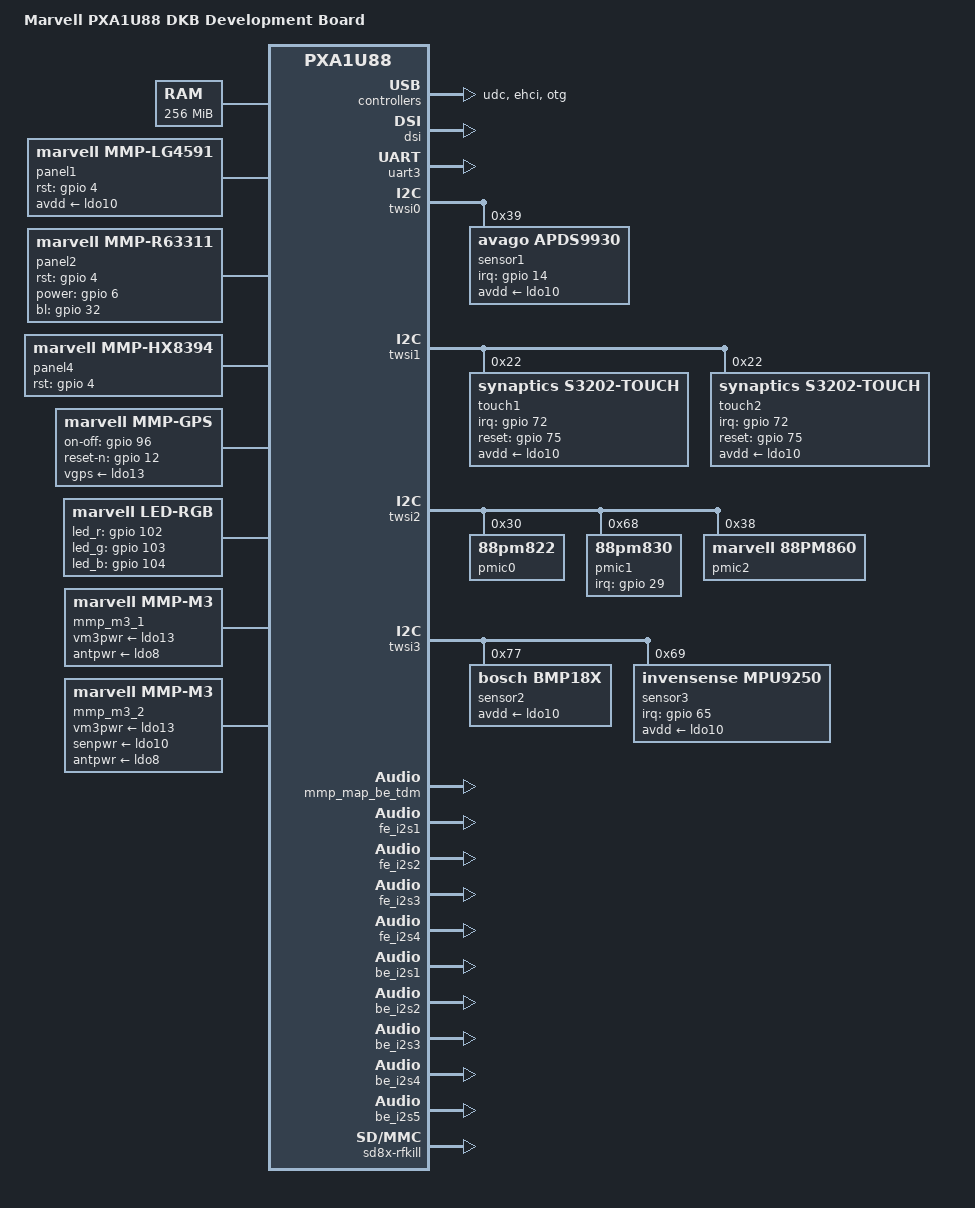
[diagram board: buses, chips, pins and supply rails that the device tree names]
/*
 *  Copyright (C) 2012 Marvell Technology Group Ltd.
 *  Author: Haojian Zhuang <haojian.zhuang@marvell.com>
 *
 *  This program is free software; you can redistribute it and/or modify
 *  it under the terms of the GNU General Public License version 2 as
 *  publishhed by the Free Software Foundation.
 */

/dts-v1/;
/memreserve/ 0x08100000 0x00040000;     /* ramoops buffer (256KB) */
/memreserve/ 0x17000000 0x01800000;	/* Frame buffer (24MB) */
/memreserve/ 0x09000000 0x01000000;	/* GPU Reserved mem (16MB) */
/memreserve/ 0x0a000000 0x00080000;	/* CM3 shared buffer(512KB) */
/memreserve/ 0x0b000000 0x01000000;	/* CM3 ACQ buffer(16MB) */
#include "pxa1U88.dtsi"
#include "pxa988-pinfunc.h"
#include <dt-bindings/mmc/pxa_sdhci.h>

/ {
	model = "Marvell PXA1U88 DKB Development Board";
	compatible = "marvell,pxa1U88-dkb", "marvell,pxa1U88";

	chosen {
		bootargs = "console=ttyS0,115200 root=/dev/nfs nfsroot=192.168.1.100:/nfsroot/ ip=192.168.1.101:192.168.1.100::255.255.255.0::eth0:on";
	};

	memory {
		reg = <0x00000000 0x10000000>;
	};

	soc {
		bus_number = <2>;

		pd_display: pd_display@0xd4282800 {
			compatible = "marvell,power-domain-display-pxa1u88";
			reg = <0xd4282800 0x1000>;
			clocks = <&soc_clocks PXA1U88_CLK_DISP_HCLK>,
				<&soc_clocks PXA1U88_CLK_DSI_ESC>,
				<&soc_clocks PXA1U88_CLK_DISP1_EN>;
			clock-names = "LCDCIHCLK", "esc_clk", "disp1_clk_gate";
		};

		smmu {  /* iommu in vpu */
			clocks = <&soc_clocks PXA1U88_CLK_VPU>,
				<&soc_clocks PXA1U88_CLK_VPUBUS>;
			clock-names = "VPUCLK", "VPUACLK";
			marvell,power-domain = <&pd_vpu>;
			status = "okay";
		};

		axi@d4200000 {	/* AXI */
			usbphy: usbphy@d4207000 {
				status = "okay";
			};

			udc: udc@d4208100 {
				status = "okay";
			};

			ehci: ehci@d4208100 {
				status = "okay";
			};

			otg: otg@d4208100 {
				status = "okay";
			};

			pd_gc: pd_gc@d4282800 {
				compatible = "marvell,power-domain-common-gc";
				reg = <0xd4282800 0x1000>;
				clocks = <&soc_clocks PXA1U88_CLK_GC3D>;
			};

			pd_gc2d: pd_gc2d@d4282800 {
				compatible = "marvell,power-domain-common-gc2d";
				reg = <0xd4282800 0x1000>;
				clocks = <&soc_clocks PXA1U88_CLK_GC2D>;
			};

			gpu: gpu@C0400000 {
				marvell,power-domain = <&pd_gc>;
				marvell,gpu-mem-base = <0x09000000>;
				marvell,gpu-mem-size = <0x1000000>;
				clocks = <&soc_clocks PXA1U88_CLK_GC3D>,
					<&soc_clocks PXA1U88_CLK_GCSH>,
					<&soc_clocks PXA1U88_CLK_GCBUS>;
				clock-names = "GC3DFCLK", "GCSHCLK", "GC3DACLK";
				status = "okay";
			};

			gpu2d: gpu2d@d420c000 {
				marvell,power-domain = <&pd_gc2d>;
				clocks = <&soc_clocks PXA1U88_CLK_GC2D>,
					<&soc_clocks PXA1U88_CLK_GCBUS>;
				clock-names = "GC2DFCLK", "GC2DACLK";
				status = "okay";
			};

			pd_vpu: pd_vpu@d4282800 {
				compatible = "marvell,power-domain-common-vpu";
				reg = <0xd4282800 0x1000>;
				clocks = <&soc_clocks PXA1U88_CLK_VPU>;
			};

			pd_smmu: pd_smmu@c0010000 {
				compatible = "marvell,power-domain-smmu-pxa1u88";
				reg = <0xc0010000 0x10000>;
				marvell,power-domain-parent = <&pd_vpu>;
				clocks = <&soc_clocks PXA1U88_CLK_VPU>,
					<&soc_clocks PXA1U88_CLK_VPUBUS>;
				clock-names = "VPUCLK", "VPUACLK";
			};

			coda7542: coda7542@d420d000 {
				marvell,sram-internal = <1>;
				marvell,nv21_support = <0>;
				marvell,power-domain = <&pd_smmu>;
				clocks = <&soc_clocks PXA1U88_CLK_VPU>,
					<&soc_clocks PXA1U88_CLK_VPUBUS>;
				clock-names = "VPUCLK", "VPUACLK";
				status = "okay";
			};

			devfreq-vpu {
				marvell,power-domain = <&pd_vpu>;
			};

			intc: wakeupgen@d4282000 {
				status = "okay";
			};

			/* eMMC */
			sdh2: sdh@d4281000 {
				pinctrl-names = "default", "fast";
				pinctrl-0 = <&sdh2_pmx_func1 &sdh2_pmx_func2>;
				pinctrl-1 = <&sdh2_pmx_func1_fast &sdh2_pmx_func2_fast>;
				bus-width = <8>;
				non-removable;
				marvell,sdh-pm-runtime-en;
				marvell,sdh-quirks = <(
						SDHCI_QUIRK_BROKEN_ADMA |
						SDHCI_QUIRK_BROKEN_CARD_DETECTION
						)>;
				marvell,sdh-quirks2 = <(
						SDHCI_QUIRK2_TUNING_ADMA_BROKEN |
						/* SDHCI_QUIRK2_BROKEN_HS200 | */
						SDHCI_QUIRK2_TIMEOUT_SHORT
						)>;
				marvell,sdh-host-caps = <(MMC_CAP_1_8V_DDR)>;
				marvell,sdh-host-caps2 = <(MMC_CAP2_DISABLE_BLK_ASYNC)>;
				marvell,sdh-flags = <(
						PXA_FLAG_NEW_RX_CFG_REG |
						PXA_FLAG_SD_8_BIT_CAPABLE_SLOT |
						PXA_FLAG_ENABLE_CLOCK_GATING |
						PXA_FLAG_TX_SEL_BUS_CLK
						)>;
		/* prop "sdh-dtr-data": <timing preset_rate src_rate tx_delay rx_delay sdclk_sel0 sdclk_sel1 fakeclk_en> */
				marvell,sdh-dtr-data = <PXA_MMC_TIMING_LEGACY PXA_SDH_DTR_26M PXA_SDH_DTR_104M 0 0 0 0 0>,
						<PXA_MMC_TIMING_MMC_HS PXA_SDH_DTR_52M PXA_SDH_DTR_104M 0 0 0 0 0>,
						<PXA_MMC_TIMING_UHS_DDR50 PXA_SDH_DTR_52M PXA_SDH_DTR_104M 0 0 0 0 0>,
						<PXA_MMC_TIMING_MMC_HS200 PXA_SDH_DTR_208M PXA_SDH_DTR_208M 0 0 3 0 0>,
						<PXA_MMC_TIMING_MAX PXA_SDH_DTR_PS_NONE PXA_SDH_DTR_104M 0 0 0 0 0>;
				marvell,sdh-tuning-win-limit = <150>;
				marvell,sdh-dvfs-levels = <0 3>; /* tuning from dvfs level 0 to 3  */
				marvell,sdh-tuning-mode = <PXA_SDH_TUNING_DVFS>;
				status = "okay";
			 };

			/* SD card */
			sdh0: sdh@d4280000 {
				pinctrl-names = "default", "fast";
				pinctrl-0 = <&sdh0_pmx_func1 &sdh0_pmx_func2 &sdh0_pmx_func3>;
				pinctrl-1 = <&sdh0_pmx_func1 &sdh0_pmx_func2_fast &sdh0_pmx_func3_fast>;
				vqmmc-supply	= <&ldo5>;
				vmmc-supply	= <&ldo4>;
				cd-gpios = <&gpio 91 0>;
				cd-inverted;
				bus-width = <4>;
				wp-inverted;
				marvell,sdh-pm-runtime-en;
				marvell,sdh-host-caps-disable = <(MMC_CAP_UHS_SDR104)>;
				marvell,sdh-quirks = <(
						SDHCI_QUIRK_INVERTED_WRITE_PROTECT |
						SDHCI_QUIRK_BROKEN_CARD_DETECTION
						)>;
				marvell,sdh-quirks2 = <(
						SDHCI_QUIRK2_TUNING_ADMA_BROKEN |
						SDHCI_QUIRK2_TIMEOUT_SHORT
						)>;
				marvell,sdh-flags = <(
						PXA_FLAG_NEW_RX_CFG_REG |
						PXA_FLAG_TX_SEL_BUS_CLK |
						PXA_FLAG_ENABLE_CLOCK_GATING
						)>;
		/* prop "sdh-dtr-data": <timing preset_rate src_rate tx_delay rx_delay sdclk_sel0 sdclk_sel1 fakeclk_en> */
				marvell,sdh-dtr-data = <PXA_MMC_TIMING_LEGACY PXA_SDH_DTR_26M PXA_SDH_DTR_104M 0 0 0 0 0>,
						<PXA_MMC_TIMING_SD_HS PXA_SDH_DTR_52M PXA_SDH_DTR_104M 0 0 0 0 0>,
						<PXA_MMC_TIMING_UHS_DDR50 PXA_SDH_DTR_52M PXA_SDH_DTR_104M 0 0 0 0 0>,
						<PXA_MMC_TIMING_UHS_SDR104 PXA_SDH_DTR_208M PXA_SDH_DTR_208M 0 0 3 0 0>,
						<PXA_MMC_TIMING_MAX PXA_SDH_DTR_PS_NONE PXA_SDH_DTR_104M 0 0 0 0 0>;
				marvell,sdh-tuning-win-limit = <150>;
				marvell,sdh-dvfs-levels = <0 3>; /* tuning from dvfs level 0 to 3  */
				marvell,sdh-tuning-mode = <PXA_SDH_TUNING_DVFS>;
				status = "okay";
			};

			/* SDIO */
			sdh1: sdh@d4280800 {
				pinctrl-names = "default", "fast", "sleep";
				pinctrl-0 = <&sdh1_pmx_func1 &sdh1_pmx_func2 &sdh1_pmx_func3 &sdh1_pmx_func4>;
				pinctrl-1 = <&sdh1_pmx_func1_fast &sdh1_pmx_func2_fast &sdh1_pmx_func3 &sdh1_pmx_func4>;
				pinctrl-2 = <&sdh1_pmx_edge_wakeup>;
				bus-width = <4>;
				marvell,sdh-pm-runtime-en;
				marvell,sdh-host-caps-disable = <(MMC_CAP_UHS_SDR104 | MMC_CAP_UHS_SDR50)>;
				marvell,sdh-quirks = <(SDHCI_QUIRK_BROKEN_CARD_DETECTION)>;
				marvell,sdh-quirks2 = <(SDHCI_QUIRK2_HOLDSUSPEND_AFTER_REQUEST |
						SDHCI_QUIRK2_FAKE_SDIO_IRQ_IN_UHS |
						SDHCI_QUIRK2_TUNING_ADMA_BROKEN |
						SDHCI_QUIRK2_TIMEOUT_SHORT
						)>;
				marvell,sdh-pm-caps = <(MMC_PM_KEEP_POWER)>;
				marvell,sdh-host-caps2 = <(MMC_CAP2_NO_VOLTAGE_SWITCH)>;
				marvell,sdh-flags = <(
						PXA_FLAG_NEW_RX_CFG_REG |
						PXA_FLAG_WAKEUP_HOST |
						PXA_FLAG_TX_SEL_BUS_CLK |
						PXA_FLAG_EN_PM_RUNTIME |
						PXA_FLAG_DISABLE_PROBE_CDSCAN
						)>;
		/* prop "sdh-dtr-data": <timing preset_rate src_rate tx_delay rx_delay sdclk_sel0 sdclk_sel1 fakeclk_en> */
				marvell,sdh-dtr-data = <PXA_MMC_TIMING_LEGACY PXA_SDH_DTR_26M PXA_SDH_DTR_104M 0 0 0 0 0>,
						<PXA_MMC_TIMING_SD_HS PXA_SDH_DTR_45M PXA_SDH_DTR_89M 0 0 0 0 0>,
						<PXA_MMC_TIMING_UHS_DDR50 PXA_SDH_DTR_52M PXA_SDH_DTR_104M 0 0 0 0 0>,
						<PXA_MMC_TIMING_UHS_SDR50 PXA_SDH_DTR_104M PXA_SDH_DTR_104M 0 0 0 0 0>,
						<PXA_MMC_TIMING_UHS_SDR104 PXA_SDH_DTR_208M PXA_SDH_DTR_208M 600 0 3 0 0>,
						<PXA_MMC_TIMING_MAX PXA_SDH_DTR_PS_NONE PXA_SDH_DTR_89M 0 0 0 0 0>;
				marvell,sdh-tuning-win-limit = <150>;
				marvell,sdh-dvfs-levels = <0 3>; /* tuning from dvfs level 0 to 3  */
				marvell,sdh-tuning-mode = <PXA_SDH_TUNING_DVFS>;
				status = "okay";
			};

			dsi: dsi@d420b800 {
				marvell,phy-name = "mmp_dsi1";
				marvell,plat-path-name = "mmp_pnpath";
				marvell,dsi-lanes = <4>;
				marvell,burst-mode = <2>;
				marvell,hbp-en;
				status = "okay";
			};

			vdma: vdma@d4209000 {
				marvell,vdma-num = <2>;
				marvell,vdma-axi = <1>;
				status = "okay";
				vdma1 {
					marvell,vdma-id = <0>;
					marvell,sram-size = <30720>;
					marvell,is_vid = <0>;
				};
				vdma2 {
					marvell,vdma-id = <2>;
					marvell,sram-size = <30720>;
					marvell,is_vid = <1>;
				};
			};

			apical: apical@d420b400 {
				marvell,apical-num = <1>;
			};

			disp: disp@d420b000 {
				pinctrl-names = "default";
				pinctrl-0 = <&disp_func>;
				marvell,disp-name = "disp_name";
				marvell,path-num = <1>;
				marvell,power-domain = <&pd_display>;
				clocks = <&soc_clocks PXA1U88_CLK_DISP1>;
				clock-names = "disp1_clk";
				status = "okay";
				path1 {
					marvell,path-name = "mmp_pnpath";
					marvell,overlay-num = <2>;
					marvell,overlay-table = <0>, <1>;
					marvell,output-type = <1>;
					marvell,path-config = <0x10>;
					marvell,link-config = <0x1>;
				};
			};

			fb0: fbbase {
				marvell,fb-name = "mmp-fb";
				marvell,path-name = "mmp_pnpath";
				marvell,overlay-id = <1>;
				marvell,default-pixfmt = <0x109>;
				marvell,buffer-num = <3>;
				marvell,fb-mem = <0x17000000>;
				status = "okay";
			};

			fb1: fboverlay {
				marvell,fb-name = "mmp-fb-overlay";
				marvell,path-name = "mmp_pnpath";
				marvell,overlay-id = <0>;
				status = "okay";
			};

			asram: asram@d12a0000 {
				status = "okay";
			};

			adma0: adma@d128d800 {
				status = "okay";
			};
			adma1: adma@d128d900 {
				status = "okay";
			};
		};

		apb@d4000000 {
			pdma0: pdma@d4000000 {
				status = "okay";
			};

			timer0: timer@d4014000 {
				status = "disabled";
			};

			timer1: timer@d4016000 {
				status = "disabled";
			};

			edgewakeup: edgewakeup@d4019800 {
				status = "okay";
			};

			uart0: uart@d4017000 {
				pinctrl-names = "default", "sleep";
				pinctrl-0 = <&uart0_pmx_func1 &uart0_pmx_func2>;
				pinctrl-1 = <&uart0_pmx_func1_sleep &uart0_pmx_func2>;
				edge-wakeup-gpio = <47>; /* GPIO47: UART rx pin */
			};

			uart3: uart@d4018000 {
				pinctrl-names = "default";
				pinctrl-0 = <&uart3_pmx_func>;
				status = "okay";
			};

			keypad: keypad@d4012000 {
				marvell,direct-keys;
				marvell,direct-key-low-active;
				marvell,keypad-lpm-mod;
				marvell,direct-key-count = <2>;
				marvell,direct-key-mask = <0xff>;
				marvell,direct-key-map = < 0x73
							   0x72>;
				marvell,debounce-interval = <30>;
				pinctrl-names = "default";
				pinctrl-0 = <&keypad_in_func>;
				status = "okay";
			};

			mfpr: mfpr@d401e000 {
				reg = <0xd401e000 0x280>;
				status = "ok";
			};

			pmx: pinmux@d401e000 {
				status = "okay";
				pinctrl-names = "default";
				pinctrl-0 = <&mfp_pins_group_0 &mfp_pins_group_1 &mfp_pins_group_2>;

				/* pin base, nr pins & gpio function */
				pinctrl-single,gpio-range = <
					/*
					 * GPIO number is hardcoded for range at here.
					 * In gpio chip, GPIO number is not hardcoded for range.
					 * Since one gpio pin may be routed to multiple pins,
					 * define these gpio range in pxa910-dkb.dts not pxa910.dtsi.
					 */
					&range 55 55 0	/* GPIO0 ~ GPIO54 */
					&range 110 32 0 /* GPIO67 ~ GPIO98 */
					&range 52 1 0	/* GPIO124 */
				>;

                                /* MFP_PULL_HIGH | MFP_LPM_FLOAT */
                                mfp_pins_group_0: mfp_pins_group_0 {
                                        pinctrl-single,pins = <
                                                PRI_TDO AF0
                                                DF_RDY0 AF1
                                                DF_RDY1 AF1
                                                DF_nCS0_SM_nCS2 AF1
                                                PA_MODE AF6
                                                RF_CONF_4 AF6
                                                SM_ADVMUX AF1
                                        >;
                                        MFP_LPM_PULL_UP;
                                };

				/* CP UART Rx and Tx */
				mfp_pins_group_1: mfp_pins_group_1 {
					pinctrl-single,pins = <
						DF_IO8 AF0
						DF_IO9 AF0
						GPIO76 AF0
					>;
					MFP_LPM_PULL_DW;
				};

				/* CCIC1/CCI2 MCLK pin */
				mfp_pins_group_2: mfp_pins_group_2 {
					pinctrl-single,pins = <
						GPIO43 AF7
						GPIO44 AF7
						GPIO77 AF1
					>;
					MFP_DEFAULT;
				};

				/* MFP_DEFAULT */
				sdh0_pmx_func1: sdh0_pmx_func1 {
					pinctrl-single,pins = <
						MMC1_DAT7 AF1
						MMC1_DAT6 AF1
						MMC1_DAT5 AF1
						MMC1_DAT4 AF1
						MMC1_WP AF1
						MMC1_CD AF1 /* Above pins not used by sdh1, configured as GPIO */
						GPIO91 AF0 /* GPIO91, used for sd card detect */
					>;
					MFP_DEFAULT;
				};

				/* no pull, no LPM */
				sdh0_pmx_func2: sdh0_pmx_func2 {
					pinctrl-single,pins = <
						MMC1_DAT3 AF0
						MMC1_DAT2 AF0
						MMC1_DAT1 AF0
						MMC1_DAT0 AF0
						MMC1_CMD AF0
					>;
					MFP_DEFAULT;
				};

				/* MFP_LPM_DRIVE_LOW */
				sdh0_pmx_func3: sdh0_pmx_func3 {
					pinctrl-single,pins = <
						MMC1_CLK AF0
					>;
					MFP_LPM_DRIVE_LOW;
				};

				/* ds fast, no pull, no LPM */
				sdh0_pmx_func2_fast: sdh0_pmx_func2_fast {
					pinctrl-single,pins = <
						MMC1_DAT3 AF0
						MMC1_DAT2 AF0
						MMC1_DAT1 AF0
						MMC1_DAT0 AF0
						MMC1_CMD AF0
					>;
					DS_FAST;PULL_NONE;EDGE_NONE;LPM_NONE;
				};

				/* ds fast, LPM_DRIVE_LOW */
				sdh0_pmx_func3_fast: sdh0_pmx_func3_fast {
					pinctrl-single,pins = <
						MMC1_CLK AF0
					>;
					DS_FAST;PULL_NONE;EDGE_NONE;LPM_DRIVE_LOW;
				};

				sdh1_pmx_func1_fast: sdh1_pmx_func1_fast {
						pinctrl-single,pins = <
							GPIO37 AF1
							GPIO38 AF1
							GPIO39 AF1
							GPIO40 AF1
							GPIO41 AF1
						>;
						DS_FAST;PULL_NONE;EDGE_NONE;LPM_NONE;
				};

				sdh1_pmx_func2_fast: sdh1_pmx_func2_fast {
						pinctrl-single,pins = <
							GPIO42 AF1
						>;
						DS_FAST;PULL_NONE;EDGE_NONE;LPM_DRIVE_LOW;
				};

				sdh1_pmx_func1: sdh1_pmx_func1 {
						pinctrl-single,pins = <
							GPIO37 AF1
							GPIO38 AF1
							GPIO39 AF1
							GPIO40 AF1
							GPIO41 AF1
						>;
						MFP_DEFAULT;
				};

				sdh1_pmx_func2: sdh1_pmx_func2 {
						pinctrl-single,pins = <
							GPIO42 AF1
						>;
						DS_SLOW0;PULL_NONE;EDGE_NONE;LPM_DRIVE_LOW;
				};

				sdh1_pmx_func3: sdh1_pmx_func3 {
						pinctrl-single,pins = <
							GPIO7 AF0
							GPIO71 AF0
							GPIO20 AF0 /* WIB_3V3_EN */
						>;
						DS_MEDIUM;PULL_FLOAT;EDGE_NONE;LPM_NONE;
				};

				sdh1_pmx_func4: sdh1_pmx_func4 {
						pinctrl-single,pins = <
							GPIO8 AF0
							GPIO5 AF0
						>;
						DS_MEDIUM;PULL_DOWN;EDGE_NONE;LPM_NONE;
				};

				sdh1_pmx_edge_wakeup: sdh1_pmx_edge_wakeup {
						pinctrl-single,pins = <
							GPIO39 AF1
						>;
						DS_MEDIUM;PULL_NONE;EDGE_BOTH;LPM_NONE;
				};

				/* no pull, no LPM */
				sdh2_pmx_func1: sdh2_pmx_func1 {
					pinctrl-single,pins = <
						ND_IO7 AF1
						ND_IO6 AF1
						ND_IO5 AF1
						ND_IO4 AF1
						ND_IO3 AF1
						ND_IO2 AF1
						ND_IO1 AF1
						ND_IO0 AF1
						ND_CLE_SM_OEN AF1
					>;
					MFP_DEFAULT;
				};

				/* MFP_LPM_DRIVE_LOW */
				sdh2_pmx_func2: sdh2_pmx_func2 {
					pinctrl-single,pins = <
						SM_SCLK AF1
					>;
					MFP_LPM_DRIVE_LOW;
				};

				/* ds fast, no pull, no LPM */
				sdh2_pmx_func1_fast: sdh2_pmx_func1_fast {
					pinctrl-single,pins = <
						ND_IO7 AF1
						ND_IO6 AF1
						ND_IO5 AF1
						ND_IO4 AF1
						ND_IO3 AF1
						ND_IO2 AF1
						ND_IO1 AF1
						ND_IO0 AF1
						ND_CLE_SM_OEN AF1
					>;
					DS_FAST;PULL_NONE;EDGE_NONE;LPM_NONE;
				};

				/* ds fast, LPM_DRIVE_LOW */
				sdh2_pmx_func2_fast: sdh2_pmx_func2_fast {
					pinctrl-single,pins = <
						SM_SCLK AF1
					>;
					DS_FAST;PULL_NONE;EDGE_NONE;LPM_DRIVE_LOW;
				};

				m9250_irq_pin: m9250_irq_pin {
					pinctrl-single,pins = <
						ND_IO10 AF1
					>;
					MFP_LPM_PULL_DW;
				};

				keypad_in_func: keypad_in_func {
					pinctrl-single,pins = <
						GPIO16 AF1	/* GPIO016_KP_DKIN1 */
						GPIO17 AF1	/* GPIO017_KP_DKIN2 */
					>;
					DS_MEDIUM;PULL_UP;EDGE_NONE;LPM_DRIVE_HIGH;
				};
				twsi0_pmx_func: twsi0_pmx_func {
					/* gpio79/80: AF1 */
					pinctrl-single,pins = <
						GPIO79 0x1
						GPIO80 0x1
					>;
					MFP_LPM_FLOAT;
				};
				twsi0_pmx_gpio: twsi0_pmx_gpio {
					pinctrl-single,pins = <
						GPIO79 AF0
						GPIO80 AF0
					>;
					MFP_LPM_FLOAT;
				};
				twsi1_pmx_func: twsi1_pmx_func {
					/* gpio87/88: AF5 */
					pinctrl-single,pins = <
						GPIO87 0x5
						GPIO88 0x5
					>;
					MFP_LPM_FLOAT;
				};
				twsi1_pmx_gpio: twsi1_pmx_gpio {
					pinctrl-single,pins = <
						GPIO87 AF0
						GPIO88 AF0
					>;
					MFP_LPM_FLOAT;
				};
				twsi3_pmx_func: twsi3_pmx_func {
					/* gpio73/74: AF5 */
					pinctrl-single,pins = <
						0x1d0 0x5
						0x1d4 0x5
					>;
					MFP_LPM_FLOAT;
				};
				twsi3_pmx_gpio: twsi3_pmx_gpio {
					pinctrl-single,pins = <
						GPIO73 AF0
						GPIO74 AF0
					>;
					MFP_LPM_FLOAT;
				};
				twsi3_pmx_senhb: twsi3_pmx_senhb {
					pinctrl-single,pins = <
						GPIO73 AF7
						GPIO74 AF7
					>;
					MFP_DEFAULT;
				};
				twsi3_pmx_senhb_def: twsi3_pmx_senhb_def {
					pinctrl-single,pins = <
						GPIO73 AF7
						GPIO74 AF7
					>;
					MFP_LPM_FLOAT;
				};
				dvc_pmx_func: dvc_pmx_func {
					pinctrl-single,pins = <
						GPIO93 AF5
						GPIO94 AF5
					>;
					MFP_DEFAULT;
				};
				pm830_pmx_func1: pm830_pmx_func1 {
					pinctrl-single,pins = <
						GPIO29 AF0
					>;
					MFP_DEFAULT;
				};
				pm830_pmx_func1_sleep: pm830_pmx_func1_sleep {
					pinctrl-single,pins = <
						GPIO29 AF0
					>;
					DS_MEDIUM;PULL_NONE;EDGE_BOTH;LPM_NONE;
				};
				touch_pins: touch_pins {
					pinctrl-single,pins = <
						GPIO72 0x0
						GPIO75 0x0
					>;
					MFP_LPM_FLOAT;
				};

				pm830_pmx_leds: pm830_pmx_leds {
					pinctrl-single,pins = <
						GPIO19 AF0	/* PA_EN */
						GPIO95 AF0	/* FLASH_EN */
					>;
					MFP_LPM_FLOAT;
				};
				pm830_bat_det: pm830_bat_det {
					pinctrl-single,pins = <
						GPIO31 AF0	/* BAT_DET */
					>;
					MFP_LPM_PULL_DW;
				};

				uart0_pmx_func1: uart0_pmx_func1 {
					pinctrl-single,pins = <
						GPIO47 AF6
					>;
					MFP_DEFAULT;
				};

				uart0_pmx_func2: uart0_pmx_func2 {
					pinctrl-single,pins = <
						GPIO48 AF6
					>;
					MFP_DEFAULT;
				};

				uart0_pmx_func1_sleep: uart0_pmx_func1_sleep {
					pinctrl-single,pins = <
						GPIO47 AF6
					>;
					DS_MEDIUM;PULL_NONE;EDGE_BOTH;LPM_NONE;
				};

				sspa0_gpio: sspa0_gpio {
					pinctrl-single,pins = <
						GPIO21 AF0
						GPIO22 AF0
						GPIO23 AF0
						GPIO24 AF0
					>;
					DS_MEDIUM;PULL_NONE;EDGE_NONE;LPM_FLOAT;
				};
				sspa0_func: sspa0_func {
					pinctrl-single,pins = <
						GPIO21 AF7
						GPIO22 AF7
						GPIO23 AF7
						GPIO24 AF7
					>;
					DS_MEDIUM;PULL_NONE;EDGE_NONE;LPM_NONE;
				};
				sspa1_func: sspa1_func {
					pinctrl-single,pins = <
						GPIO25 AF7
						GPIO26 AF7
						GPIO27 AF7
						GPIO28 AF7
					>;
					DS_MEDIUM;PULL_NONE;EDGE_NONE;LPM_NONE;
				};
				disp_func: disp_func {
					pinctrl-single,pins = <
						GPIO4 AF0
						GPIO6 AF0
						GPIO32 AF0
					>;
					MFP_LPM_PULL_DW;
				};
				gssp_func: gssp_func {
					pinctrl-single,pins = <
						GPIO25 AF1
						GPIO26 AF1
						GPIO27 AF1
						GPIO28 AF1
					>;
					DS_MEDIUM;PULL_NONE;EDGE_NONE;LPM_NONE;
				};
				gssp_gpio: gssp_gpio {
					pinctrl-single,pins = <
						GPIO25 AF0
						GPIO26 AF0
						GPIO27 AF0
						GPIO28 AF0
					>;
					DS_MEDIUM;PULL_NONE;EDGE_NONE;LPM_FLOAT;
				};

				led_pmx_func: led_pmx_func {
					pinctrl-single,pins = <
						/* LED_R_CTRL */
						DF_nCS1_SM_nCS3 AF1
						/* LED_G_CTRL */
						SM_nCS0 AF1
						/* LED_B_CTRL */
						SM_nCS1 AF1
					>;
					MFP_LPM_PULL_DW;
				};

				uart3_pmx_func: uart3_pmx_func {
					pinctrl-single,pins = <
						GPIO45 AF1
						GPIO46 AF1
					>;
					MFP_DEFAULT;
				};

				gnss_pmx_def1: gnss_pmx_def1 {
					pinctrl-single,pins = <
						ND_IO11 AF1
						ND_IO12 AF1
						ND_IO13 AF1
						ND_IO15 AF1
					>;
					MFP_LPM_PULL_DW;
				};

				gnss_pmx_def2: gnss_pmx_def2 {
					pinctrl-single,pins = <
						ND_IO14 AF0
					>;
					MFP_LPM_FLOAT;
				};

				gnss_pmx_power_on: gnss_pmx_power_on {
					pinctrl-single,pins = <
						ND_IO11 AF5
						ND_IO12 AF5
						ND_IO13 AF5
						ND_IO14 AF5
						ND_IO15 AF5
					>;
					MFP_DEFAULT;
				};

				senhb_irq_pins_def: senhb_irq_pins_def {
					pinctrl-single,pins = <
						GPIO11 AF0
						GPIO10 AF0
						ND_IO10 AF5
					>;
					MFP_DEFAULT;
				};

				gps_pmx_reset: gps_pmx_reset {
					pinctrl-single,pins = <
						GPIO12 AF0
					>;
					DS_MEDIUM;PULL_DOWN;EDGE_NONE;LPM_NONE;
				};

				gps_pmx_eclk: gps_pmx_eclk {
					/* eclk */
					pinctrl-single,pins = <
						0x0124 0x6
					>;
					MFP_DEFAULT;
				};

				gps_pmx_gpio: gps_pmx_gpio {
					/* gpio18 */
					pinctrl-single,pins = <
						0x0124 0x0
					>;
					MFP_DEFAULT;
				};
			};

			twsi0: i2c@d4011000 {
				pinctrl-names = "default","gpio";
				pinctrl-0 = <&twsi0_pmx_func>;
				pinctrl-1 = <&twsi0_pmx_gpio>;
				i2c-gpio = <&gpio 79 0 &gpio 80 0>;
				status = "okay";

				sensor1: apds9930@39 {
					compatible = "avago,apds9930";
					reg = <0x39>;
					interrupt-parent = <&gpio>;
					interrupts = <14 0x1>;
					irq-gpios = <&gpio 14 0>;
					avdd-supply = <&ldo10>;
				};
			};
			twsi1: i2c@d4010800 {
				pinctrl-names = "default","gpio";
				pinctrl-0 = <&twsi1_pmx_func>;
				pinctrl-1 = <&twsi1_pmx_gpio>;
				i2c-gpio = <&gpio 87 0 &gpio 88 0>;
				status = "okay";

                                touch1: s3202@720p {
                                        compatible = "synaptics,s3202-touch";
                                        pinctrl-names = "default"; pinctrl-0 = <&touch_pins>;
                                        reg = <0x22>;
                                        interrupt-parent = <&gpio>;
                                        interrupts = <72 0x1>;
                                        /* IRQF_ONESHOT | IRQF_TRIGGER_FALLING */
                                        synaptics,irq-flags =  <0x2002>;
                                        synaptics,irq-gpios = <&gpio 72 0>;
                                        synaptics,reset-gpios = <&gpio 75 0>;
                                        synaptics,sensor_res_x = <720>;
                                        synaptics,sensor_res_y = <1280>;
                                        synaptics,sensor_max_x = <798>;
                                        synaptics,sensor_max_y = <1392>;
                                        synaptics,sensor_margin_x = <39>;
                                        synaptics,sensor_margin_y = <0>;
                                        avdd-supply = <&ldo10>;
                                };

                                touch2: s3202@1080p {
                                        compatible = "synaptics,s3202-touch";
                                        pinctrl-names = "default"; pinctrl-0 = <&touch_pins>;
                                        reg = <0x22>;
                                        interrupt-parent = <&gpio>;
                                        interrupts = <72 0x1>;
                                        /* IRQF_ONESHOT | IRQF_TRIGGER_FALLING */
                                        synaptics,irq-flags =  <0x2002>;
                                        synaptics,irq-gpios = <&gpio 72 0>;
                                        synaptics,reset-gpios = <&gpio 75 0>;
                                        synaptics,sensor_res_x = <1080>;
                                        synaptics,sensor_res_y = <1920>;
                                        synaptics,sensor_max_x = <1080>;
                                        synaptics,sensor_max_y = <2070>;
                                        synaptics,sensor_margin_x = <0>;
                                        synaptics,sensor_margin_y = <0>;
                                        avdd-supply = <&ldo10>;
                                };
			};
			twsi2: i2c@d4037000 {
				status = "okay";

				pmic0: 88pm822@30 {
					reg = <0x30>;
					interrupts = <0 4 IRQF_TRIGGER_HIGH>;
					interrupt-parent = <&gic>;
					/* TODO: move this part out */
					dvc {
						pinctrl-names = "default";
						pinctrl-0 = <&dvc_pmx_func>;
						status = "okay";
					};

					headset {
						compatible = "marvell,88pm80x-headset";
						marvell,switch-name = "h2w";
						marvell,headset-flag = <1>;
						marvell,hook-press-th = <60>;
						marvell,vol-up-press-th = <250>;
						marvell,vol-down-press-th = <500>;
						marvell,mic-det-th = <600>;
						marvell,press-release-th = <600>;
						marvell,micbias-supply = <&ldo14>;
					};
				};

				pmic1: 88pm830@68 {
					pinctrl-names = "default", "sleep";
					pinctrl-0 = <&pm830_pmx_func1 &pm830_pmx_leds &pm830_bat_det>;
					pinctrl-1 = <&pm830_pmx_func1_sleep &pm830_pmx_leds &pm830_bat_det>;
					edge-wakeup-gpio = <29>; /* GPIO29: interrupt line */

					reg = <0x68>;
					interrupt-parent = <&gpio>;
					interrupts = <29 IRQF_TRIGGER_FALLING>;

				        charger {
					        status = "okay";
				        };
				        battery {
						marvell,fg-has-external-storage;
						external-storage = <&pmic0>;

					        /* board design related */
					        external-resistor = <200>; /* mohm */
					        /* using scenario */
					        power-off-threshold = <3350>; /* mV */
					        safe-power-off-threshold = <3000>; /* mV */
					        status = "okay";
				        };
				        led {
					        flash-en-gpio = <95>;
					        flash-txmsk-gpio = <19>;
					        status = "okay";
				        };
					vbus {
						gpadc-number = <1>;
						status = "okay";
					};

				        debug {
					       status = "okay";
				        };
			       };
				pmic2: 88pm860@38 {
					compatible = "marvell,88pm860";
					reg = <0x38>;
					pm860_codec: pm860_codec {
						compatible = "marvell,88pm860-codec";
						#dailink-cells = <1>;
					};
				};
			};
			twsi3: i2c@d4013800 {
				pinctrl-names = "default", "gpio";
				pinctrl-0 = <&twsi3_pmx_func>;
				pinctrl-1 = <&twsi3_pmx_gpio>;
				i2c-gpio = <&gpio 73 0 &gpio 74 0>;
				status = "okay";

				sensor2: bmp18x@77 {
					compatible = "bosch,bmp18x";
					reg = <0x77>;
					avdd-supply = <&ldo10>;
				};

				sensor3: mpu9250@69 {
					compatible = "invensense,mpu9250";
					pinctrl-names = "default";
					pinctrl-0 = <&m9250_irq_pin>;
					reg = <0x69>;
					interrupt-parent = <&gpio>;
					interrupts = <65 IRQF_TRIGGER_FALLING>;
					inven,irq-gpios = <&gpio 65 0x00>;
					avdd-supply = <&ldo10>;
					axis_map_x = <0>;
					negate_x = <0>;
					axis_map_y = <4>;
					negate_y = <0>;
					axis_map_z = <8>;
					negate_z = <0>;
					inven,secondary_axis_map_x = <0>;
					inven,secondary_negate_x = <0>;
					inven,secondary_axis_map_y = <4>;
					inven,secondary_negate_y = <0>;
					inven,secondary_axis_map_z = <8>;
					inven,secondary_negate_z = <0>;
					inven,secondary_type = "compass";
					inven,secondary_name = "ak8963";
					inven,secondary_reg = <0xc>;
				};
			};

			/* SSPA port 0 */
			sspa0: sspa@d128dc00 {
				pinctrl-names = "default";
				pinctrl-0 = <&sspa0_func>;
				playback_period_bytes = <4096>;
				playback_buffer_bytes = <12288>;
				capture_period_bytes = <4096>;
				capture_buffer_bytes = <8192>;
				burst_size = <4>;
				sleep_vol = <850>;
				#dailink-cells = <1>;
				status = "okay";
			};

			/* SSPA port 1 */
			sspa1: sspa@d128dd00 {
				pinctrl-names = "default";
				pinctrl-0 = <&sspa1_func>;
				playback_period_bytes = <16384>;
				playback_buffer_bytes = <32768>;
				capture_period_bytes = <4096>;
				capture_buffer_bytes = <8192>;
				burst_size = <4>;
				sleep_vol = <850>;
				#dailink-cells = <1>;
				status = "okay";
			};

			map: map@d1200000 {
				marvell,apll = <0>;
				status = "okay";
				mmp_map_codec: mmp_map_codec {
					compatible = "marvell,mmp-map-codec";
					#dailink-cells = <1>;
				};
				mmp_map_be: mmp_map_be {
					compatible = "marvell,mmp-map-be";
					#dailink-cells = <1>;
				};
				mmp_map_be_tdm: mmp_map_be_tdm {
					compatible = "marvell,mmp-map-be-tdm";
					#dailink-cells = <1>;
				};
			};

			swjtag: swjtag@d4013100 {
				status = "okay";
			};

			thermal: thermal@d4013300 {
				/* A cooling path is defined with the increased num */
				/* 4core 3core 2core 1core */
				core-p0 = <0 0 0 0  /* 2.0G */
					   1 0 0 0  /* 1.8G */
					   2 0 0 0  /* 1.5G */
					   3 0 0 0>;/* 1.2G */
				/* 1.2G * 2 core cooling state */
				thermal_safe-p0 = <3 2>;
				status = "okay";
			};

			acipc: acipc@d401d000 {
				status = "okay";
			};

			seh: seh@d4080000 {
				status = "okay";
			};

			cp-load {
				compatible = "marvell,cp_load";
				cp-type = <1>; /* pxa1U88 */
				lpm-qos = <PM_QOS_CPUIDLE_BLOCK_AXI>;
				status = "okay";
			};
		};

                /*
                 * ramoops:
                 * 256 KB memory starts at 0x8100000
                 * pstore dump: 2 chunks, total 64 KB, 32 KB each
                 * console size: 192 KB
                 * no dump_oops
                 */
                ramoops {
			compatible = "pstore,ramoops";
                        mem-size = <0x40000>;
                        mem-address = <0x8100000>;
                        record-size = <0x8000>;
                        console-size = <0x30000>;
                        dump-oops = <0>;
                        status = "okay";
                };
	};

	mmp_pcm_hostless: mmp_pcm_hostless {
		bus_number = <0>;
		compatible = "marvell,mmp-pcm-hostless";
		#dailink-cells = <1>;
		status = "okay";
	};

	snd_soc_dummy: snd_soc_dummy {
		compatible = "snd-soc-dummy";
		#dailink-cells = <1>;
		status = "okay";
	};

	sound {
		compatible = "marvell,map-card";
		map,dapm-route =
			"ADC input1", "TDM_MIC1_CAP",
			"ADC input2", "TDM_MIC2_CAP",
			"ADC input3", "BT_VC_UL",
			"TDM_OUT1_PLAYBACK", "DAC1 output out1",
			"TDM_OUT2_PLAYBACK", "DAC2 output out2",
			"BT_VC_DL", "ADC output ain3";
		fe_i2s1: fe_i2s1 {
			compatible = "marvell,map-dailink-1";
			dai-name = "MAP I2S1 audio";
			stream-name = "map i2s1";
			marvell,cpu-dai = <&sspa0 0>;
			marvell,codec-dai = <&mmp_map_codec 1>;
			marvell,dai-dynamic;
		};
		fe_i2s2: fe_i2s2 {
			compatible = "marvell,map-dailink-1";
			dai-name = "MAP I2S4 audio";
			stream-name = "map i2s4";
			marvell,cpu-dai = <&sspa1 1>;
			marvell,codec-dai = <&mmp_map_codec 4>;
			marvell,dai-dynamic;
		};
		fe_i2s3: fe_i2s3 {
			compatible = "marvell,map-dailink-2";
			dai-name = "MAP I2S2 audio";
			stream-name = "map i2s2";
			marvell,cpu-dai = <&mmp_pcm_hostless 0>;
			marvell,codec-dai = <&mmp_map_codec 2>;
			marvell,dai-dynamic;
			marvell,dai-no-host-mode;
		};
		fe_i2s4: fe_i2s4 {
			compatible = "marvell,map-dailink-1";
			dai-name = "MAP I2S3 audio";
			stream-name = "map i2s3";
			marvell,cpu-dai = <&mmp_pcm_hostless 0>;
			marvell,codec-dai = <&mmp_map_codec 3>;
			marvell,dai-dynamic;
			marvell,dai-no-host-mode;
		};
		be_i2s1: be_i2s1 {
			compatible = "marvell,map-dailink-3";
			dai-name = "MAP AUXI2S audio";
			stream-name = "BT audio";
			marvell,cpu-dai = <&mmp_map_be 1>;
			marvell,codec-dai = <&snd_soc_dummy 0>;
			marvell,codec-name = "snd-soc-dummy";
			marvell,codec-dai-name = "snd-soc-dummy-dai";
			marvell,dai-no-pcm;
			marvell,dai-fixup = <0>;
		};
		be_i2s2: be_i2s2 {
			compatible = "marvell,map-dailink-6";
			dai-name = "MAP TDM hs audio";
			stream-name = "codec hs audio";
			marvell,cpu-dai = <&mmp_map_be_tdm 2>;
			marvell,codec-dai = <&pm860_codec 3>;
			marvell,playback-only;
			marvell,dai-no-pcm;
			marvell,dai-fixup = <1>;
		};
		be_i2s3: be_i2s3 {
			compatible = "marvell,map-dailink-4";
			dai-name = "MAP TDM speaker audio";
			stream-name = "codec speaker audio";
			marvell,cpu-dai = <&mmp_map_be_tdm 1>;
			marvell,codec-dai = <&pm860_codec 4>;
			marvell,playback-only;
			marvell,dai-no-pcm;
			marvell,dai-fixup = <1>;
		};
		be_i2s4: be_i2s4 {
			compatible = "marvell,map-dailink-5";
			dai-name = "MAP TDM mic1 audio";
			stream-name = "codec mic1 audio";
			marvell,cpu-dai = <&mmp_map_be_tdm 3>;
			marvell,codec-dai = <&pm860_codec 1>;
			marvell,capture-only;
			marvell,dai-no-pcm;
		};
		be_i2s5: be_i2s5 {
			compatible = "marvell,map-dailink-5";
			dai-name = "MAP TDM mic2 audio";
			stream-name = "codec mic2 audio";
			marvell,cpu-dai = <&mmp_map_be_tdm 4>;
			marvell,codec-dai = <&pm860_codec 2>;
			marvell,capture-only;
			marvell,dai-no-pcm;
		};
	};

	ion {
		marvell,ion-nr = <2>;
		status = "okay";
		marvell,ion-iommu = <1>;
		marvell,power-domain = <&pd_smmu>;
		heap1 {
			marvell,ion-name = "carveout_heap";
			marvell,ion-type = <2>;
			marvell,ion-id = <2>;
			marvell,ion-base = <0>;
			marvell,ion-size = <0>;
		};
		heap2 {
			marvell,ion-name = "system_heap";
			marvell,ion-type = <0>;
			marvell,ion-id = <0>;
		};
	};

	panel1: lg4591 {
		compatible = "marvell,mmp-lg4591";
		marvell,path-name = "mmp_pnpath";
		rst_gpio = <&gpio 4 0>;
		avdd-supply = <&ldo10>;
		status = "okay";
	};

	panel2: r63311 {
		compatible = "marvell,mmp-r63311";
		marvell,path-name = "mmp_pnpath";
		rst_gpio = <&gpio 4 0>;
		power_gpio = <&gpio 6 0>;
		bl_gpio = <&gpio 32 0>;
		status = "okay";
	};

	panel4: hx8394 {
		compatible = "marvell,mmp-hx8394";
		marvell,path-name = "mmp_pnpath";
		panel_esd = <0>;
		rst_gpio = <&gpio 4 0>;
		status = "okay";
	};

	gps: mmp-gps {
		compatible = "marvell,mmp-gps";
		marvell,gps-eclk-ctrl;

		vgps-supply = <&ldo13>;

		pinctrl-names = "default", "idle";
		pinctrl-0 = <&gps_pmx_eclk &gps_pmx_reset>;
		pinctrl-1 = <&gps_pmx_gpio>;

		on-off-gpio = <&gpio 96 0>;
		reset-n-gpio = <&gpio 12 0>;
	};

	led-rgb {
		compatible = "marvell,led-rgb";
		pinctrl-names = "default";
		pinctrl-0 = <&led_pmx_func>;
		led_r = <&gpio 102 0>;
		led_g = <&gpio 103 0>;
		led_b = <&gpio 104 0>;
		status = "okay";
	};

	mmp_m3_1: apsenhb {
		compatible = "marvell,mmp-m3";
		pmicver = <1>;
		vm3pwr-supply = <&ldo13>;
		antpwr-supply = <&ldo8>;

		pinctrl-names = "default", "poweron", "unfuse_en_d2";
		pinctrl-0 = <&gnss_pmx_def1 &gnss_pmx_def2>;
		pinctrl-1 = <&gnss_pmx_power_on>;
		pinctrl-2 = <&gnss_pmx_def2>;
		status = "okay";
	};

	mmp_m3_2: cm3senhb {
		compatible = "marvell,mmp-m3";
		pmicver = <1>;
		vm3pwr-supply = <&ldo13>;
		senpwr-supply = <&ldo10>;
		antpwr-supply = <&ldo8>;

		pinctrl-names = "default", "poweron", "unfuse_en_d2";
		pinctrl-0 = <&gnss_pmx_def1 &gnss_pmx_def2 &twsi3_pmx_senhb_def &senhb_irq_pins_def>;
		pinctrl-1 = <&gnss_pmx_power_on &twsi3_pmx_senhb>;
		pinctrl-2 = <&gnss_pmx_def2>;
		status = "okay";
	};

	sd8x-rfkill {
		sd-host = <&sdh1>;
		pd-gpio = <&gpio 7 0>;
		rst-gpio = <&gpio 71 0>;
		3v3-ldo-gpio = <&gpio 20 0>;
		edge-wakeup-gpio = <&gpio 39 0>;
		status = "okay";
	};
};
#include "88pm822.dtsi"
#include "88pm822_pxa1u88_dkb.dtsi"

#include "88pm830.dtsi"
#include "88pm830_battery_common.dtsi"
#include "88pm830_sp4555557sa.dtsi"
